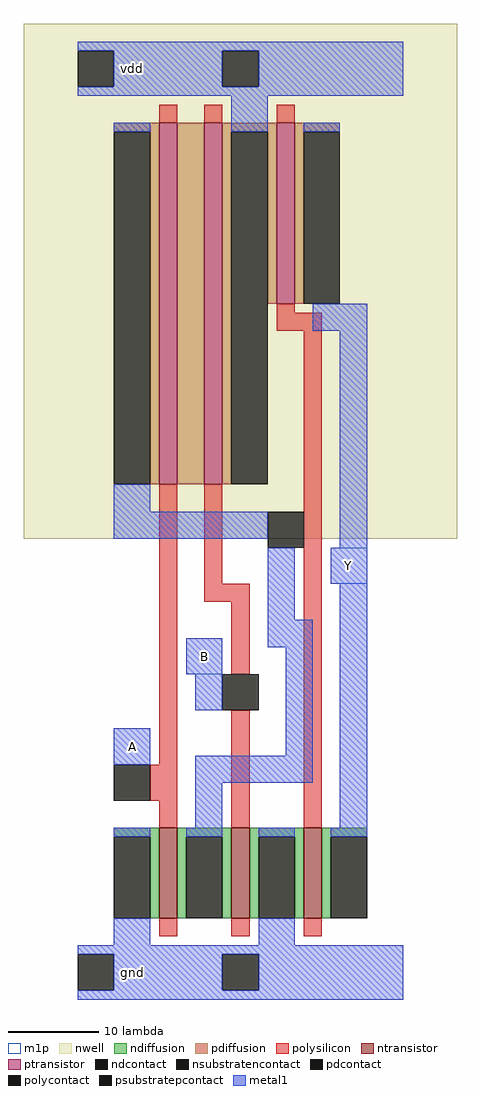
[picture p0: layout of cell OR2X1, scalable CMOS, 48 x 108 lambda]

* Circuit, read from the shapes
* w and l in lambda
.subckt OR2X1 A B Y gnd vdd
M1 n1 A gnd gnd nfet w=10 l=2
M2 gnd B n1 gnd nfet w=10 l=2
M3 Y n1 gnd gnd nfet w=10 l=2
M4 n2 A n1 vdd pfet w=40 l=2
M5 vdd B n2 vdd pfet w=40 l=2
M6 Y n1 vdd vdd pfet w=20 l=2
.ends

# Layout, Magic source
magic
tech scmos
<< nwell >>
rect -8 48 40 105
<< ntransistor >>
rect 7 6 9 16
rect 15 6 17 16
rect 23 6 25 16
<< ptransistor >>
rect 7 54 9 94
rect 12 54 14 94
rect 20 74 22 94
<< ndiffusion >>
rect 2 15 7 16
rect 6 6 7 15
rect 9 15 15 16
rect 9 6 10 15
rect 14 6 15 15
rect 17 15 23 16
rect 17 6 18 15
rect 22 6 23 15
rect 25 15 30 16
rect 25 6 26 15
<< pdiffusion >>
rect 2 93 7 94
rect 6 54 7 93
rect 9 54 12 94
rect 14 93 20 94
rect 14 54 15 93
rect 19 74 20 93
rect 22 93 27 94
rect 22 74 23 93
<< ndcontact >>
rect 2 6 6 15
rect 10 6 14 15
rect 18 6 22 15
rect 26 6 30 15
<< pdcontact >>
rect 2 54 6 93
rect 15 54 19 93
rect 23 74 27 93
<< psubstratepcontact >>
rect -2 -2 2 2
rect 14 -2 18 2
<< nsubstratencontact >>
rect -2 98 2 102
rect 14 98 18 102
<< polysilicon >>
rect 7 94 9 96
rect 12 94 14 96
rect 20 94 22 96
rect 20 73 22 74
rect 20 71 25 73
rect 7 23 9 54
rect 12 43 14 54
rect 12 41 17 43
rect 15 33 17 41
rect 6 19 9 23
rect 7 16 9 19
rect 15 16 17 29
rect 23 16 25 71
rect 7 4 9 6
rect 15 4 17 6
rect 23 4 25 6
<< polycontact >>
rect 19 47 23 51
rect 14 29 18 33
rect 2 19 6 23
<< metal1 >>
rect -2 102 34 103
rect 2 98 14 102
rect 18 98 34 102
rect -2 97 34 98
rect 2 93 6 94
rect 15 93 19 97
rect 23 93 27 94
rect 24 71 30 74
rect 2 51 6 54
rect 2 48 19 51
rect 27 47 30 71
rect 19 39 22 47
rect 26 43 30 47
rect 10 33 14 37
rect 19 36 24 39
rect 11 29 14 33
rect 2 23 6 27
rect 21 24 24 36
rect 11 21 24 24
rect 11 16 14 21
rect 27 16 30 43
rect 2 15 6 16
rect 10 15 14 16
rect 18 15 22 16
rect 26 15 30 16
rect 2 3 6 6
rect 18 3 22 6
rect -2 2 34 3
rect 2 -2 14 2
rect 18 -2 34 2
rect -2 -3 34 -2
<< m1p >>
rect 26 43 30 47
rect 10 33 14 37
rect 2 23 6 27
<< labels >>
rlabel metal1 28 45 28 45 4 Y
rlabel metal1 12 35 12 35 4 B
rlabel metal1 4 100 4 100 4 vdd
rlabel metal1 4 0 4 0 4 gnd
rlabel metal1 4 25 4 25 4 A
<< end >>
